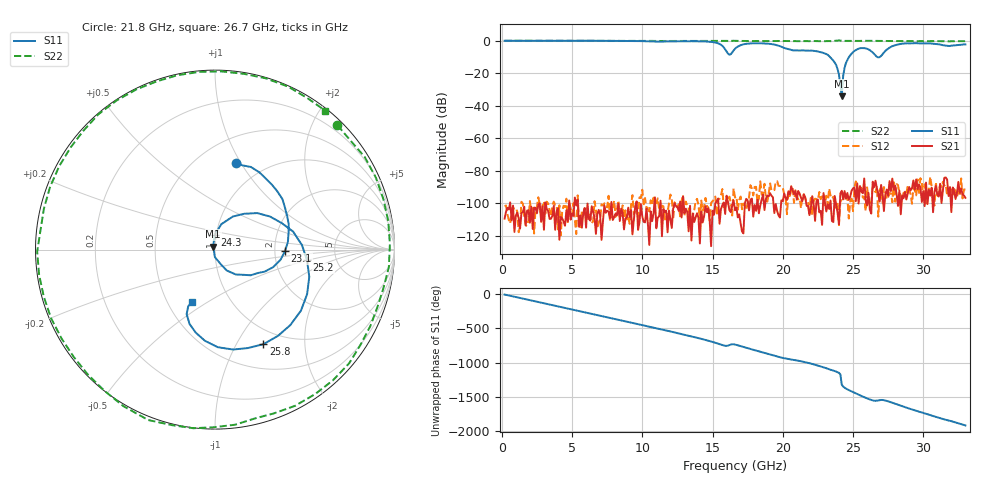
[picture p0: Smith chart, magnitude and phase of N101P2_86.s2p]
# GHZ S RI R 50
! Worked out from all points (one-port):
!   329 points, 200 MHz to 33 GHz, reference 50 ohm
!   lowest |S11| = -34.1 dB at 24.2 GHz (marker M1), VSWR 1.04, Z = 49 + j1.67 ohm
!   |S11| at or under -10 dB: 23.36 GHz to 24.71 GHz (1.352 GHz wide, 5.63 % of centre); 26.72 GHz to 26.91 GHz (187.4 MHz wide, 0.699 % of centre)
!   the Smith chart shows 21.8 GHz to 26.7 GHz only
!   S11 on the Smith chart (normalised r, x): 21.8 GHz: 0.75, +0.96; 23.1 GHz: 2.28, -0.04; 24.3 GHz: 0.98, +0.16; 25.2 GHz: 3.04, -0.49; 25.8 GHz: 0.80, -1.30; 26.7 GHz: 0.66, -0.43
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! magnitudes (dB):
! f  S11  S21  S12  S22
! 200 MHz  0.0  -109.3  -101.7  0.0
! 5.7 GHz  0.0  -114.9  -104.8  0.0
! 11.2 GHz  -0.5  -107.9  -103.6  -0.1
! 15.2 GHz  -1.1  -100.0  -95.8  -0.1
! 15.7 GHz  -3.1  -101.1  -91.1  -0.1
! 16.2 GHz  -8.6  -104.1  -95.8  -0.1
! 16.6 GHz  -5.0  -104.2  -96.4  -0.1
! 18.4 GHz  -1.5  -101.2  -86.4  -0.2
! 21.8 GHz  -6.1  -101.5  -99.1  -0.2
! 22.1 GHz  -6.1  -95.5  -107.3  -0.2
! 23.1 GHz  -8.2  -105.0  -95.2  -0.2
! 23.8 GHz  -14.8  -100.6  -101.9  0.0
! 24 GHz  -20.8  -112.8  -113.3  0.2
! 24.2 GHz  -34.1  -92.2  -97.9  0.0
! 24.3 GHz  -21.6  -97.5  -98.7  -0.1
! 24.6 GHz  -11.8  -93.6  -96.5  -0.1
! 25.2 GHz  -5.7  -98.6  -86.4  -0.1
! 25.8 GHz  -4.6  -84.7  -96.0  -0.1
! 26.7 GHz  -9.9  -90.9  -89.7  -0.1
! 27.6 GHz  -4.3  -86.3  -93.8  -0.1
! 28.9 GHz  -1.6  -93.9  -89.0  -0.2
! 33 GHz  -2.3  -96.6  -91.4  -0.3
